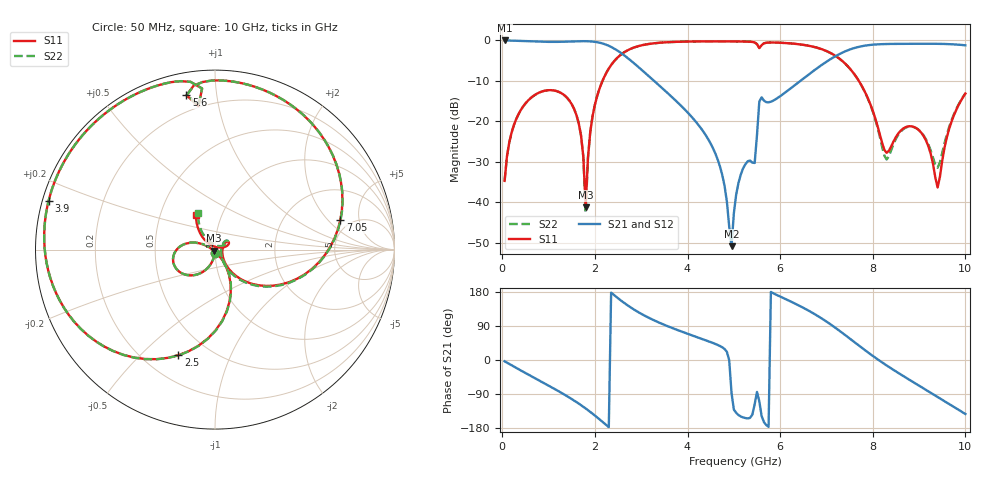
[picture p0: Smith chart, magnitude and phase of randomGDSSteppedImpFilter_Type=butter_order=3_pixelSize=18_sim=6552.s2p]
! freq	dB(S11)	phase(S11)	dB(S12)	phase(S12)
!  dB(S21)	phase(S21)	dB(S22)	phase(S22)
!S-par simulation data
#  GHz  S  DB  R 50
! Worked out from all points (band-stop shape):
!   200 points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, 50 MHz to 10 GHz, reference 50 ohm
!   highest |S21| = -0.01 dB at 50 MHz (marker M1); lowest = -50.8 dB at 4.95 GHz (marker M2)
!   |S21| within 3 dB of the highest: start of sweep to 2.552 GHz; 7.344 GHz to end of sweep
!   lowest |S11| = -41.1 dB at 1.8 GHz (marker M3), VSWR 1.02, Z = 49.3 - j0.537 ohm
!   |S11| at or under -10 dB: start of sweep to 2.163 GHz; 7.7 GHz to end of sweep
!   |S22| runs from -42.6 to -0.2 dB; largest |S21 - S12| = 0
!   S11 on the Smith chart (normalised r, x): 50 MHz: 1.00, -0.04; 2.5 GHz: 0.34, -0.66; 3.9 GHz: 0.02, +0.14; 5.6 GHz: 0.11, +0.83; 7.05 GHz: 4.10, +2.79; 10 GHz: 0.76, +0.31
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0.05  -34.67 -93.3  -0.01 -3.5  -0.01 -3.5  -34.67 -93.3
0.3  -19.43 -111.0  -0.09 -20.8  -0.09 -20.8  -19.43 -111.0
0.85  -12.63 -148.0  -0.32 -57.7  -0.32 -57.7  -12.63 -148.1
1.5  -15.75 168.0  -0.25 -103.0  -0.25 -103.0  -15.76 167.7
1.75  -28.71 157.7  -0.18 -123.4  -0.18 -123.4  -28.78 155.5
1.8  -41.15 -141.6  -0.18 -127.8  -0.18 -127.8  -42.59 -143.6
2  -15.86 -61.0  -0.35 -146.6  -0.35 -146.6  -15.87 -60.4
2.5  -4.11 -109.1  -2.60 162.9  -2.60 162.9  -4.11 -109.0
3.4  -0.57 -173.0  -11.23 97.9  -11.23 97.9  -0.57 -173.0
3.9  -0.30 163.6  -16.58 73.8  -16.58 73.8  -0.30 163.6
4.65  -0.22 133.5  -29.36 39.8  -29.36 39.8  -0.22 133.4
4.95  -0.23 121.6  -50.78 -86.7  -50.78 -86.7  -0.23 121.6
5.05  -0.24 117.5  -38.09 -139.4  -38.09 -139.4  -0.24 117.5
5.45  -0.50 98.3  -30.24 -116.6  -30.24 -116.6  -0.50 98.3
5.6  -1.16 100.5  -14.05 -147.8  -14.05 -147.8  -1.15 100.3
6.7  -1.51 38.6  -7.68 124.3  -7.68 124.3  -1.52 38.3
7.05  -2.88 13.3  -4.89 97.3  -4.89 97.3  -2.89 13.0
7.6  -8.30 -31.5  -1.88 47.4  -1.88 47.4  -8.32 -32.3
8.35  -27.20 10.8  -0.87 -18.5  -0.87 -18.5  -28.53 16.1
8.95  -21.73 22.1  -0.83 -64.0  -0.83 -64.0  -21.72 28.6
9.4  -36.29 72.8  -0.83 -97.2  -0.83 -97.2  -31.43 76.5
10  -13.12 118.5  -1.20 -142.6  -1.20 -142.6  -13.03 114.7
